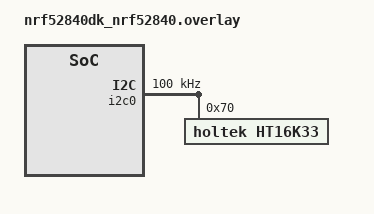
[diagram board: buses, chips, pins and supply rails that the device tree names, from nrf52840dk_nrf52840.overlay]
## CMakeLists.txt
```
cmake_minimum_required(VERSION 3.20.0)

find_package(Zephyr REQUIRED HINTS $ENV{ZEPHYR_BASE})
project(compass_beacon)

# Production firmware: BLE bring-up + passive window emit (main.c), the NUS
# attendance counter (attendance.c), the aggregation window (ble_window.c), and
# the LED-matrix / battery-bar renderer the accepted count is drawn on
# (led_display.c). attendance_display() -> led_display_update() is the wiring
# that puts the accumulated attendance count on the matrix.
target_sources(app PRIVATE
  src/main.c
  src/ble_window.c
  src/attendance.c
  src/led_display.c
)

# Standalone display bring-up test (its own main(), feeds simulated counts to
# the matrix). Mutually exclusive with src/main.c -- enable this and disable the
# four sources above to bench the display without BLE:
#   src/led_display_test.c
```

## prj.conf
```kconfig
# COMPASS / Project HYBE - nRF52840 dual-mode firmware config.

# Bluetooth: broadcaster (iBeacon adv) + observer (passive scan).
CONFIG_BT=y
CONFIG_BT_BROADCASTER=y
CONFIG_BT_OBSERVER=y
CONFIG_BT_DEVICE_NAME="COMPASS-nRF"

# Peripheral role + Nordic UART Service (NUS) GATT server: the connectable
# attendance channel the phone app writes "CHECKIN\n" to (the device owns the
# counter and notifies "OK:<count>" back). One central at a time; the connection
# is short-lived (connect, write once, disconnect).
CONFIG_BT_PERIPHERAL=y
CONFIG_BT_NUS=y
CONFIG_BT_MAX_CONN=1

# Connection RSSI measurement in the controller. Required for the FR5 proximity
# gate: without it the SoftDevice Controller rejects HCI Read_RSSI (0x1405) and
# bt_hci_cmd_send_sync() returns -EIO, so every CHECKIN fails the fail-safe as
# "far". (Defaults on only for BT_HCI_RAW, which this app is not.)
CONFIG_BT_CTLR_CONN_RSSI=y

# Console over UART. The logging subsystem is intentionally NOT enabled: with
# CONFIG_LOG=y (deferred mode) the BLE RX thread starves the log thread during
# scanning and no output ever flushes. Plain printk writes directly and
# synchronously to the UART in the calling context, so it cannot be starved.
CONFIG_SERIAL=y
CONFIG_CONSOLE=y
CONFIG_UART_CONSOLE=y
CONFIG_PRINTK=y
CONFIG_NRFX_UARTE1=y
CONFIG_GPIO=y

# C library: snprintf + sqrt/lround for the aggregation window. No %f is used
# in any format string, so newlib float-printf support is not required.
CONFIG_NEWLIB_LIBC=y
CONFIG_FPU=y

# Stacks: scan callback + JSON formatting.
CONFIG_MAIN_STACK_SIZE=2048
CONFIG_SYSTEM_WORKQUEUE_STACK_SIZE=2048

# LED matrix (HT16K33 over I2C) that the accumulated attendance count is drawn
# on. CONFIG_LED gives the led_on/led_off API used by led_display.c; the I2C bus
# carries it (matrix node in nrf52840dk_nrf52840.overlay). The TM1651 battery
# bar is bit-banged over GPIO (already enabled above), no extra Kconfig.
CONFIG_I2C=y
CONFIG_LED=y

# NOTE: CONFIG_LOG stays OFF on purpose (see the console block above). With
# CONFIG_LOG=y the BLE RX thread starves the deferred log thread during
# scanning and no printk output ever flushes -- the board looks silent on UART
# even though advertising keeps running.
```

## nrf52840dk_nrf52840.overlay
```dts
/*
 * COMPASS / Project HYBE - board overlay for the nRF52840DK.
 *
 * Declares the HT16K33 16x8 LED matrix on i2c0 (I2C address 0x70). led_display.c
 * binds to this node via DT_COMPAT_GET_ANY_STATUS_OKAY(holtek_ht16k33) and draws
 * the accumulated attendance count on it. The TM1651 battery bar is bit-banged
 * straight on gpio1 (P1.12/P1.13) from led_display.c, so it needs no DT node.
 *
 * SPDX-License-Identifier: Apache-2.0
 */

&i2c0 {
	clock-frequency = <I2C_BITRATE_STANDARD>;

	ht16k33@70 {
		compatible = "holtek,ht16k33";
		reg = <0x70>;
		/* Uncomment to use IRQ instead of polling: */
		/* irq-gpios = <&gpio1 8 (GPIO_PULL_UP | GPIO_ACTIVE_LOW)>; */
	};
};
```

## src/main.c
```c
/*
 * COMPASS / Project HYBE - nRF52840 dual-mode firmware.
 *
 * Runs two BLE roles concurrently:
 *   - Broadcaster: non-connectable iBeacon advertising (the "location id" the
 *     phone app detects for the ACTIVE path).
 *   - Observer:    passive scanning that aggregates ambient BLE traffic into
 *     fixed windows for the PASSIVE crowd estimate, splitting Apple vs other
 *     manufacturers.
 *
 * Every WINDOW_SECONDS the aggregated window is emitted as a single JSON line
 * on the console (UART/RTT). A host bridge forwards each line to Firestore,
 * adding server_ts. See README.md.
 */

#include <zephyr/kernel.h>
#include <zephyr/sys/byteorder.h>
#include <zephyr/sys/printk.h>
#include <zephyr/bluetooth/bluetooth.h>
#include <zephyr/bluetooth/conn.h>
#include <zephyr/bluetooth/hci.h>

#include <bluetooth/services/nus.h>

#include "app_config.h"
#include "ble_window.h"
#include "attendance.h"

/* ---- iBeacon advertising data (broadcaster role) ----------------------- */

static const uint8_t ibeacon_mfg_data[] = {
	0x4C, 0x00,             /* Apple Company ID (little-endian) */
	0x02, 0x15,             /* iBeacon type + remaining length (21 bytes) */
	APP_IBEACON_UUID,       /* 16-byte proximity UUID */
	(APP_IBEACON_MAJOR >> 8) & 0xFF, APP_IBEACON_MAJOR & 0xFF, /* major BE */
	(APP_IBEACON_MINOR >> 8) & 0xFF, APP_IBEACON_MINOR & 0xFF, /* minor BE */
	APP_IBEACON_MEASURED_POWER,
};

/*
 * Advertising payload (Approach A): a single CONNECTABLE legacy set carrying the
 * iBeacon manufacturer data in the AD, plus the NUS service UUID and device name
 * in the scan response so the app can scan-filter by UUID (and fall back to the
 * name). Flags advertise LE General Discoverable + BR/EDR-not-supported; iOS /
 * Android ranging keys on the manufacturer payload, not the flags, so the
 * iBeacon stays detectable.
 */
static const struct bt_data connectable_ad[] = {
	BT_DATA_BYTES(BT_DATA_FLAGS, BT_LE_AD_GENERAL | BT_LE_AD_NO_BREDR),
	BT_DATA(BT_DATA_MANUFACTURER_DATA, ibeacon_mfg_data,
		sizeof(ibeacon_mfg_data)),
};

/* Scan response: 18 B (128-bit NUS UUID) + 13 B (name) = 31 B, the legacy max. */
static const struct bt_data connectable_sd[] = {
	BT_DATA_BYTES(BT_DATA_UUID128_ALL, BT_UUID_NUS_VAL),
	BT_DATA(BT_DATA_NAME_COMPLETE, CONFIG_BT_DEVICE_NAME,
		sizeof(CONFIG_BT_DEVICE_NAME) - 1),
};

/* ---- Passive aggregation window (observer role) ------------------------ */

static struct ble_window window;
static struct k_mutex window_mutex;
static struct k_work_delayable window_work;

/* Manufacturer-classification context for one parsed advertisement. */
struct adv_scan_ctx {
	bool is_apple;
};

static bool adv_data_cb(struct bt_data *data, void *user_data)
{
	struct adv_scan_ctx *ctx = user_data;

	if (data->type == BT_DATA_MANUFACTURER_DATA && data->data_len >= 2) {
		uint16_t company = sys_get_le16(data->data);

		if (company == COMPANY_ID_APPLE) {
			ctx->is_apple = true;
		}
	}
	return true; /* keep parsing remaining AD structures */
}

static void scan_cb(const bt_addr_le_t *addr, int8_t rssi, uint8_t adv_type,
		    struct net_buf_simple *buf)
{
	ARG_UNUSED(adv_type);

	/* Drop weak packets so distant rooms/neighbours do not inflate counts. */
	if (rssi < RSSI_THRESHOLD) {
		return;
	}

	struct adv_scan_ctx ctx = {.is_apple = false};

	bt_data_parse(buf, adv_data_cb, &ctx);

	k_mutex_lock(&window_mutex, K_FOREVER);
	ble_window_add(&window, addr->a.val, rssi, ctx.is_apple);
	k_mutex_unlock(&window_mutex);
}

static void window_work_handler(struct k_work *work)
{
	ARG_UNUSED(work);

	struct ble_window snapshot;

	k_mutex_lock(&window_mutex, K_FOREVER);
	snapshot = window;
	ble_window_reset(&window);
	k_mutex_unlock(&window_mutex);

	char json[256];
	uint32_t uptime_sec = (uint32_t)(k_uptime_get() / 1000);

	int n = ble_window_format_json(&snapshot, BEACON_ID, uptime_sec, json,
				       sizeof(json));
	/* "TX -> " prefix lets the host bridge pick data lines out of the
	 * interleaved boot banner / CONFIG_LOG output on the same UART. */
	if (n > 0 && n < (int)sizeof(json)) {
		printk("TX -> %s\n", json);
	} else {
		printk("TX -> {\"id\":\"%s\",\"error\":\"json_truncated\"}\n",
		       BEACON_ID);
	}

	k_work_schedule(&window_work, K_SECONDS(WINDOW_SECONDS));
}

/* ---- Bring-up ---------------------------------------------------------- */

static int start_connectable_adv(void)
{
	/*
	 * Connectable legacy advertising carrying the iBeacon AD + NUS scan
	 * response. Legacy connectable advertising auto-stops once a central
	 * connects, so the disconnected callback restarts it (see below).
	 */
	return bt_le_adv_start(BT_LE_ADV_CONN, connectable_ad,
			       ARRAY_SIZE(connectable_ad), connectable_sd,
			       ARRAY_SIZE(connectable_sd));
}

/* ---- NUS connection lifecycle (peripheral role) ------------------------ */

static void connected(struct bt_conn *conn, uint8_t err)
{
	ARG_UNUSED(conn);

	if (err) {
		printk("NUS connection failed (err %u)\n", err);
		return;
	}
	printk("NUS connected\n");
}

static void disconnected(struct bt_conn *conn, uint8_t reason)
{
	ARG_UNUSED(conn);

	printk("NUS disconnected (reason %u)\n", reason);

	/* Approach A: re-advertise so the next attendance write can connect. */
	int err = start_connectable_adv();

	if (err) {
		printk("connectable adv restart failed (err %d)\n", err);
	}
}

BT_CONN_CB_DEFINE(conn_callbacks) = {
	.connected = connected,
	.disconnected = disconnected,
};

static int start_passive_scan(void)
{
	struct bt_le_scan_param scan_param = {
		.type = BT_LE_SCAN_TYPE_PASSIVE,
		.options = BT_LE_SCAN_OPT_NONE,
		.interval = BT_GAP_SCAN_FAST_INTERVAL,
		.window = BT_GAP_SCAN_FAST_WINDOW,
	};

	return bt_le_scan_start(&scan_param, scan_cb);
}

int main(void)
{
	int err;

	k_mutex_init(&window_mutex);
	ble_window_reset(&window);

	err = bt_enable(NULL);
	if (err) {
		printk("bt_enable failed (err %d)\n", err);
		return 0;
	}
	printk("COMPASS dual-mode firmware started (beacon=%s)\n", BEACON_ID);

	err = attendance_init();
	if (err) {
		printk("NUS (attendance) init failed (err %d)\n", err);
		return 0;
	}

	err = start_connectable_adv();
	if (err) {
		printk("connectable advertising failed (err %d)\n", err);
		return 0;
	}
	printk("connectable iBeacon+NUS adv: major=%d minor=%d\n",
	       APP_IBEACON_MAJOR, APP_IBEACON_MINOR);

	err = start_passive_scan();
	if (err) {
		printk("Passive scan failed (err %d)\n", err);
		return 0;
	}
	printk("Passive scan running, window=%ds threshold=%ddBm\n",
	       WINDOW_SECONDS, RSSI_THRESHOLD);

	k_work_init_delayable(&window_work, window_work_handler);
	k_work_schedule(&window_work, K_SECONDS(WINDOW_SECONDS));

	return 0;
}
```

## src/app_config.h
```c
/*
 * COMPASS / Project HYBE - Per-unit firmware configuration.
 *
 * Each nRF52840 installed at a different reading room gets a distinct
 * BEACON_ID + APP_IBEACON_MINOR. Keep APP_IBEACON_UUID identical across all
 * units and matching the Flutter active-path region UUID.
 */

#ifndef APP_CONFIG_H_
#define APP_CONFIG_H_

/* Logical location id reported in the payload. MUST match a Firestore doc id
 * registered in the app (_beaconMeta: beacon_A1 / beacon_A2 / beacon_A3). */
#define BEACON_ID "beacon_A1"

/* iBeacon identity (advertised for the active path). */
#define APP_IBEACON_UUID                                                       \
	0xE2, 0xC5, 0x6D, 0xB5, 0xDF, 0xFB, 0x48, 0xD2, 0xB0, 0x60, 0xD0,      \
		0xF5, 0xA7, 0x10, 0x96, 0xE0
#define APP_IBEACON_MAJOR 1
#define APP_IBEACON_MINOR 101
/* Calibrated RSSI at 1 m, two's-complement (0xC5 = -59 dBm). */
#define APP_IBEACON_MEASURED_POWER 0xC5

/* Passive scanning / aggregation. */
#define WINDOW_SECONDS 10
/* Relaxed to capture people farther from the ceiling-mounted unit. */
#define RSSI_THRESHOLD (-95)

/* Apple Bluetooth Company Identifier. */
#define COMPANY_ID_APPLE 0x004C

/* NUS attendance proximity gate (FR5): a CHECKIN is counted only if the
 * connection RSSI of the tapping phone is at least this value (closer => higher
 * / less negative). Close range is roughly -40..-65 dBm; tune on-site. */
#define ATT_RSSI_THRESHOLD (-70)

/* Expected room capacity (total attendees). Full-scale for the LED display:
 * the TM1651 battery bar fills to (count / ATT_CAPACITY) * 100%. The matrix
 * shows the raw count, so this only drives the bar. */
#define ATT_CAPACITY 50U

#endif /* APP_CONFIG_H_ */
```

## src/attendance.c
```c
/*
 * COMPASS / Project HYBE - NUS attendance RX channel (see attendance.h).
 *
 * The beacon owns the attendance counter. On each "CHECKIN" RX write it gates
 * the tap on the connection RSSI (proximity) and, if close enough, increments
 * the counter, prints it, and ACKs the central.
 *
 * The RSSI read is an HCI Read_RSSI command issued synchronously
 * (bt_hci_cmd_send_sync), which blocks - and the NUS RX callback runs in the BT
 * RX context where blocking is forbidden (spec 7). So the RX callback stays
 * short (validate "CHECKIN", ref the connection, submit work) and the actual
 * gate + increment + notify happen on the system workqueue.
 */

#include <stdbool.h>
#include <stdio.h>
#include <string.h>

#include <zephyr/kernel.h>
#include <zephyr/sys/printk.h>
#include <zephyr/sys/byteorder.h>
#include <zephyr/net/buf.h>
#include <zephyr/bluetooth/conn.h>
#include <zephyr/bluetooth/hci.h>

#include <bluetooth/services/nus.h>

#include "app_config.h"
#include "attendance.h"
#include "led_display.h"

/* The signal the app writes. Matched by prefix so a future "CHECKIN:<token>\n"
 * (per-user de-dup, spec 6) stays non-breaking. */
#define CHECKIN_PREFIX     "CHECKIN"
#define CHECKIN_PREFIX_LEN (sizeof(CHECKIN_PREFIX) - 1)

/* Beacon-owned counter (resets to 0 on reboot; persistence is future work). */
static uint32_t attendance_count;

/* One in-flight tap at a time (CONFIG_BT_MAX_CONN=1, single deliberate tap).
 * pending_conn hands the ref'd connection from the RX callback to the work. */
static struct bt_conn *pending_conn;
static struct k_work checkin_work;
static struct k_spinlock lock;

/* Reads the live connection RSSI via HCI Read_RSSI (opcode 0x1405).
 * Returns 0 and writes *rssi on success, or a negative errno. */
static int conn_rssi(struct bt_conn *conn, int8_t *rssi)
{
	uint16_t handle;
	int err = bt_hci_get_conn_handle(conn, &handle);

	if (err) {
		return err;
	}

	struct net_buf *buf = bt_hci_cmd_create(BT_HCI_OP_READ_RSSI,
						sizeof(struct bt_hci_cp_read_rssi));
	if (buf == NULL) {
		return -ENOBUFS;
	}

	struct bt_hci_cp_read_rssi *cp = net_buf_add(buf, sizeof(*cp));

	cp->handle = sys_cpu_to_le16(handle);

	struct net_buf *rsp = NULL;

	err = bt_hci_cmd_send_sync(BT_HCI_OP_READ_RSSI, buf, &rsp);
	if (err) {
		return err;
	}

	struct bt_hci_rp_read_rssi *rp = (void *)rsp->data;

	if (rp->status) {
		err = -EIO;
	} else {
		*rssi = rp->rssi;
	}
	net_buf_unref(rsp);
	return err;
}

/* Best-effort TX notify; ignored if the central never subscribed. */
static void notify(struct bt_conn *conn, const char *msg)
{
	(void)bt_nus_send(conn, (const uint8_t *)msg, (uint16_t)strlen(msg));
}

/* System-workqueue handler: RSSI gate -> increment -> display -> ACK. */
static void checkin_work_handler(struct k_work *work)
{
	ARG_UNUSED(work);

	k_spinlock_key_t key = k_spin_lock(&lock);
	struct bt_conn *conn = pending_conn;

	pending_conn = NULL;
	k_spin_unlock(&lock, key);

	if (conn == NULL) {
		return;
	}

	int8_t rssi = 0;
	int err = conn_rssi(conn, &rssi);

	if (err) {
		/* Fail-safe: an unreadable RSSI is treated as a reject. */
		printk("ATT-RX rejected (rssi read failed, err %d)\n", err);
		notify(conn, "FAR\n");
	} else if (rssi < ATT_RSSI_THRESHOLD) {
		printk("ATT-RX rejected (far, rssi=%d dBm)\n", rssi);
		notify(conn, "FAR\n");
	} else {
		attendance_count++;
		attendance_display(attendance_count);

		char ack[16];
		int n = snprintf(ack, sizeof(ack), "OK:%u\n", attendance_count);

		if (n > 0 && n < (int)sizeof(ack)) {
			(void)bt_nus_send(conn, (const uint8_t *)ack,
					  (uint16_t)n);
		}
	}

	bt_conn_unref(conn);
}

/* NUS RX write handler: app -> device. Short and non-blocking. */
static void nus_received(struct bt_conn *conn, const uint8_t *const data,
			 uint16_t len)
{
	if (data == NULL || len < CHECKIN_PREFIX_LEN ||
	    memcmp(data, CHECKIN_PREFIX, CHECKIN_PREFIX_LEN) != 0) {
		printk("ATT-RX malformed payload (%u bytes), dropped\n", len);
		return;
	}

	k_spinlock_key_t key = k_spin_lock(&lock);
	bool busy = (pending_conn != NULL);

	if (!busy) {
		pending_conn = bt_conn_ref(conn);
	}
	k_spin_unlock(&lock, key);

	if (busy) {
		printk("ATT-RX busy, tap dropped\n");
		return;
	}

	k_work_submit(&checkin_work);
}

static struct bt_nus_cb nus_cb = {
	.received = nus_received,
};

void attendance_display(uint32_t count)
{
	/* Echo to the console for the host bridge, then render the accumulated
	 * count on the LED matrix (number) + TM1651 battery bar (fill ratio
	 * against room capacity). */
	printk("ATT-RX count=%u\n", count);
	led_display_update(count, ATT_CAPACITY);
}

int attendance_init(void)
{
	k_work_init(&checkin_work, checkin_work_handler);
	led_display_init();
	return bt_nus_init(&nus_cb);
}
```

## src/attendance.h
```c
/*
 * COMPASS / Project HYBE - NUS attendance RX channel.
 *
 * Stands up a Nordic UART Service (NUS) GATT server so the phone app (BLE
 * central) can check a student in. The app connects, writes the bare signal
 * "CHECKIN\n" to the NUS RX characteristic, and disconnects.
 *
 * The beacon owns the counter: each CHECKIN is gated on the connection RSSI
 * (proximity), and only accepted taps increment attendance_count, which is
 * echoed to the UART console and rendered on the LED matrix + battery bar via
 * attendance_display(), and ACKed to the app ("OK:<count>" on accept, "FAR" on
 * reject). See firmware-nus-attendance-spec.md.
 */

#ifndef ATTENDANCE_H_
#define ATTENDANCE_H_

#include <stdint.h>

/*
 * Registers the NUS GATT service and its RX write handler. Call once after
 * bt_enable(). Returns 0 on success, or a negative errno on failure.
 */
int attendance_init(void);

/*
 * Surfaces the current attendance count to the operator: prints
 * "ATT-RX count=%u" to the UART console (for the host bridge) and renders the
 * count on the LED matrix + TM1651 battery bar (led_display_update()). Single
 * drop-in point for any display change - the signature and call sites stay put.
 */
void attendance_display(uint32_t count);

#endif /* ATTENDANCE_H_ */
```

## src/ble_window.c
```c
/*
 * COMPASS / Project HYBE - Passive BLE aggregation window implementation.
 */

#include "ble_window.h"

#include <math.h>
#include <stdio.h>
#include <string.h>

/* FNV-1a 32-bit constants. */
#define FNV1A_OFFSET_BASIS 2166136261u
#define FNV1A_PRIME 16777619u

void ble_window_reset(struct ble_window *w)
{
	memset(w, 0, sizeof(*w));
	/* min/max sentinels so the first sample sets both. */
	w->rssi_min = 127;
	w->rssi_max = -128;
}

static uint32_t fnv1a_hash(const uint8_t *data, size_t len)
{
	uint32_t hash = FNV1A_OFFSET_BASIS;

	for (size_t i = 0; i < len; i++) {
		hash ^= data[i];
		hash *= FNV1A_PRIME;
	}
	return hash;
}

void ble_window_add(struct ble_window *w, const uint8_t addr6[6], int8_t rssi,
		    bool is_apple)
{
	w->packet_count++;
	if (is_apple) {
		w->apple_packet_count++;
	}

	/* Welford online mean/variance. */
	w->rssi_n++;
	const double delta = (double)rssi - w->rssi_mean;
	w->rssi_mean += delta / (double)w->rssi_n;
	const double delta2 = (double)rssi - w->rssi_mean;
	w->rssi_m2 += delta * delta2;

	if (rssi < w->rssi_min) {
		w->rssi_min = rssi;
	}
	if (rssi > w->rssi_max) {
		w->rssi_max = rssi;
	}

	/* Mark presence in the FNV-1a hashed bitmap. */
	const uint32_t idx = fnv1a_hash(addr6, 6) % BLE_WINDOW_BITMAP_BITS;
	w->mac_bitmap[idx / 8] |= (uint8_t)(1u << (idx % 8));
}

uint32_t ble_window_unique_macs(const struct ble_window *w)
{
	uint32_t bits = 0;

	for (size_t i = 0; i < BLE_WINDOW_BITMAP_BYTES; i++) {
		uint8_t b = w->mac_bitmap[i];

		while (b) {
			bits += (b & 1u);
			b >>= 1;
		}
	}
	return bits;
}

double ble_window_rssi_std(const struct ble_window *w)
{
	if (w->rssi_n < 2) {
		return 0.0;
	}
	return sqrt(w->rssi_m2 / (double)w->rssi_n);
}

int ble_window_rssi_avg(const struct ble_window *w)
{
	if (w->rssi_n == 0) {
		return 0;
	}
	return (int)lround(w->rssi_mean);
}

int ble_window_format_json(const struct ble_window *w, const char *beacon_id,
			   uint32_t uptime_sec, char *buf, size_t buf_len)
{
	const uint32_t apple = w->apple_packet_count;
	const uint32_t other = w->packet_count - apple;

	/* Format std to one decimal as integer tenths to avoid pulling in
	 * floating-point printf support (std is always >= 0). */
	const int std_x10 = (int)(ble_window_rssi_std(w) * 10.0 + 0.5);

	return snprintf(buf, buf_len,
			"{\"id\":\"%s\","
			"\"packet_count\":%u,"
			"\"apple_packet_count\":%u,"
			"\"other_packet_count\":%u,"
			"\"rssi_avg\":%d,"
			"\"rssi_std\":%d.%d,"
			"\"rssi_min\":%d,"
			"\"rssi_max\":%d,"
			"\"unique_mac_count\":%u,"
			"\"uptime_sec\":%u}",
			beacon_id, w->packet_count, apple, other,
			ble_window_rssi_avg(w), std_x10 / 10, std_x10 % 10,
			(int)(w->rssi_n ? w->rssi_min : 0),
			(int)(w->rssi_n ? w->rssi_max : 0),
			ble_window_unique_macs(w), uptime_sec);
}
```

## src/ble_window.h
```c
/*
 * COMPASS / Project HYBE - Passive BLE aggregation window.
 *
 * Accumulates ambient BLE advertising packets over a fixed time window and
 * produces the Firestore-bound metrics: total / Apple / other packet counts,
 * RSSI mean+std (Welford), RSSI min/max, and an approximate unique-MAC count
 * via an FNV-1a hashed bitmap.
 */

#ifndef BLE_WINDOW_H_
#define BLE_WINDOW_H_

#include <stdbool.h>
#include <stddef.h>
#include <stdint.h>

/* FNV-1a hash bitmap size for unique-MAC estimation (bits). */
#define BLE_WINDOW_BITMAP_BITS 1024
#define BLE_WINDOW_BITMAP_BYTES (BLE_WINDOW_BITMAP_BITS / 8)

struct ble_window {
	uint32_t packet_count;
	uint32_t apple_packet_count;

	/* Welford running stats over RSSI (signed dBm). */
	uint32_t rssi_n;
	double rssi_mean;
	double rssi_m2;
	int8_t rssi_min;
	int8_t rssi_max;

	/* FNV-1a hashed presence bitmap for unique BLE addresses. */
	uint8_t mac_bitmap[BLE_WINDOW_BITMAP_BYTES];
};

/* Clears all counters/stats for a fresh window. */
void ble_window_reset(struct ble_window *w);

/*
 * Records one accepted advertising packet.
 *   addr6    : 6-byte BLE device address (little-endian, as from bt_addr_le_t).
 *   rssi     : received signal strength in dBm.
 *   is_apple : true if the manufacturer Company ID was Apple (0x004C).
 */
void ble_window_add(struct ble_window *w, const uint8_t addr6[6], int8_t rssi,
		    bool is_apple);

/* Approximate count of distinct addresses (set bits in the bitmap). */
uint32_t ble_window_unique_macs(const struct ble_window *w);

/* Population RSSI standard deviation; 0 if fewer than 2 samples. */
double ble_window_rssi_std(const struct ble_window *w);

/* Rounded RSSI mean; 0 if no samples. */
int ble_window_rssi_avg(const struct ble_window *w);

/*
 * Serialises the window as a single-line JSON object matching the Firestore
 * schema (server_ts is added downstream by the host bridge). Returns the
 * number of bytes written (excluding NUL), or a negative value on truncation.
 */
int ble_window_format_json(const struct ble_window *w, const char *beacon_id,
			   uint32_t uptime_sec, char *buf, size_t buf_len);

#endif /* BLE_WINDOW_H_ */
```

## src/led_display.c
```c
#include "led_display.h"

#include <zephyr/kernel.h>
#include <zephyr/drivers/gpio.h>
#include <zephyr/drivers/led.h>
#include <zephyr/sys/printk.h>

/* ── LED Matrix (HT16K33) ─────────────────────────────────────────────────── */

#define LED_MATRIX_COUNT  128
#define MATRIX_COLS       16   /* physical columns in the 16x8 matrix */

/* 5-row x 3-col pixel font for digits 0–9.
 * Each row is a 3-bit mask: bit2=left, bit1=mid, bit0=right. */
static const uint8_t digit_font[10][5] = {
    {0b111, 0b101, 0b101, 0b101, 0b111}, /* 0 */
    {0b010, 0b110, 0b010, 0b010, 0b111}, /* 1 */
    {0b111, 0b001, 0b111, 0b100, 0b111}, /* 2 */
    {0b111, 0b001, 0b111, 0b001, 0b111}, /* 3 */
    {0b101, 0b101, 0b111, 0b001, 0b001}, /* 4 */
    {0b111, 0b100, 0b111, 0b001, 0b111}, /* 5 */
    {0b111, 0b100, 0b111, 0b101, 0b111}, /* 6 */
    {0b111, 0b001, 0b001, 0b001, 0b001}, /* 7 */
    {0b111, 0b101, 0b111, 0b101, 0b111}, /* 8 */
    {0b111, 0b101, 0b111, 0b001, 0b111}, /* 9 */
};

#define LED_NODE DT_COMPAT_GET_ANY_STATUS_OKAY(holtek_ht16k33)
static const struct device *const led_dev = DEVICE_DT_GET(LED_NODE);

static void draw_digit(uint8_t digit, int col_offset, int row_offset)
{
    for (int row = 0; row < 5; row++) {
        uint8_t bits = digit_font[digit][row];
        for (int col = 0; col < 3; col++) {
            int led = (row + row_offset) * MATRIX_COLS + (col + col_offset);
            if ((bits >> (2 - col)) & 1) {
                led_on(led_dev, led);
            } else {
                led_off(led_dev, led);
            }
        }
    }
}

/* ── Battery Bar (TM1651, bit-banged) ─────────────────────────────────────── */

/* CLK = D10 = P1.12,  DIO = D11 = P1.13 */
#define TM1651_CLK 12
#define TM1651_DIO 13

static const struct device *gpio1_dev;

static void tm_delay(void) { k_busy_wait(50); }

static void tm_start(void)
{
    gpio_pin_set(gpio1_dev, TM1651_CLK, 1);
    gpio_pin_set(gpio1_dev, TM1651_DIO, 1);
    tm_delay();
    gpio_pin_set(gpio1_dev, TM1651_DIO, 0);
    tm_delay();
    gpio_pin_set(gpio1_dev, TM1651_CLK, 0);
    tm_delay();
}

static void tm_stop(void)
{
    gpio_pin_set(gpio1_dev, TM1651_CLK, 0);
    tm_delay();
    gpio_pin_set(gpio1_dev, TM1651_DIO, 0);
    tm_delay();
    gpio_pin_set(gpio1_dev, TM1651_CLK, 1);
    tm_delay();
    gpio_pin_set(gpio1_dev, TM1651_DIO, 1);
    tm_delay();
}

static void tm_write_byte(uint8_t byte)
{
    for (int i = 0; i < 8; i++) {
        gpio_pin_set(gpio1_dev, TM1651_CLK, 0);
        tm_delay();
        gpio_pin_set(gpio1_dev, TM1651_DIO, (byte >> i) & 1);
        tm_delay();
        gpio_pin_set(gpio1_dev, TM1651_CLK, 1);
        tm_delay();
    }
    /* ACK clock */
    gpio_pin_set(gpio1_dev, TM1651_CLK, 0);
    gpio_pin_configure(gpio1_dev, TM1651_DIO, GPIO_INPUT);
    tm_delay();
    gpio_pin_set(gpio1_dev, TM1651_CLK, 1);
    tm_delay();
    gpio_pin_set(gpio1_dev, TM1651_CLK, 0);
    gpio_pin_configure(gpio1_dev, TM1651_DIO, GPIO_OUTPUT_LOW);
    tm_delay();
}

/*
 * percent: 0–100, fills from bottom to top.
 *
 * Hardware mapping (0xC0 only, 0xC1 unused):
 *   bit6 (0x40) → bottom 2 segments
 *   bit5 (0x20) → 8th from top
 *   bit4 (0x10) → 7th from top
 *   bit3 (0x08) → 6th from top
 *   bit2 (0x04) → 4th,5th from top
 *   bit1 (0x02) → 2nd,3rd from top
 *   bit0 (0x01) → top segment
 *
 * Some segments are paired (same bit), so 7 distinct levels exist for 10 physical bars.
 */
static const uint8_t bat_levels[11] = {
    0x00,  /* 0%   → empty */
    0x40,  /* 10%  → bottom 2 bars */
    0x40,  /* 20%  → same (hardware limitation) */
    0x60,  /* 30%  → + 8th bar */
    0x70,  /* 40%  → + 7th bar */
    0x78,  /* 50%  → + 6th bar */
    0x7C,  /* 60%  → + 4th,5th bars */
    0x7C,  /* 70%  → same (hardware limitation) */
    0x7E,  /* 80%  → + 2nd,3rd bars */
    0x7E,  /* 90%  → same (hardware limitation) */
    0x7F,  /* 100% → + top bar, full */
};

static void battery_set_level(int percent)
{
    if (percent < 0)   percent = 0;
    if (percent > 100) percent = 100;

    int bars = percent / 10;
    if (bars > 10) bars = 10;

    uint8_t high = bat_levels[bars];

    tm_start();
    tm_write_byte(0x44);
    tm_stop();

    tm_start();
    tm_write_byte(0xC0);
    tm_write_byte(high);
    tm_stop();

    tm_start();
    tm_write_byte(0x8A);
    tm_stop();
}

/* ── Public API ───────────────────────────────────────────────────────────── */

void battery_raw(uint8_t high, uint8_t low)
{
    tm_start(); tm_write_byte(0x44); tm_stop();
    tm_start(); tm_write_byte(0xC0); tm_write_byte(high); tm_stop();
    tm_start(); tm_write_byte(0x44); tm_stop();
    tm_start(); tm_write_byte(0xC1); tm_write_byte(low);  tm_stop();
    tm_start(); tm_write_byte(0x8A); tm_stop();
}

int led_display_init(void)
{
    gpio1_dev = DEVICE_DT_GET(DT_NODELABEL(gpio1));
    gpio_pin_configure(gpio1_dev, TM1651_CLK, GPIO_OUTPUT_HIGH);
    gpio_pin_configure(gpio1_dev, TM1651_DIO, GPIO_OUTPUT_HIGH);

    if (!device_is_ready(led_dev)) {
        printk("led_display: LED matrix not ready\n");
        return -ENODEV;
    }

    /* Clear both displays */
    for (int i = 0; i < LED_MATRIX_COUNT; i++) {
        led_off(led_dev, i);
    }
    battery_set_level(0);

    return 0;
}

void led_matrix_set_count(uint32_t count)
{
    uint32_t on = (count > LED_MATRIX_COUNT) ? LED_MATRIX_COUNT : count;

    for (uint32_t i = 0; i < on; i++) {
        led_on(led_dev, i);
    }
    for (uint32_t i = on; i < LED_MATRIX_COUNT; i++) {
        led_off(led_dev, i);
    }
}

void battery_display_set_count(uint32_t count, uint32_t capacity)
{
    if (capacity == 0) {
        return;
    }
    int percent = (int)((count * 100U) / capacity);
    if (percent > 100) percent = 100;
    battery_set_level(percent);
}

void led_display_update(uint32_t count, uint32_t capacity)
{
    /* Matrix shows the count as a 2-digit number; battery bar shows the fill
     * ratio against capacity. (led_matrix_set_count() lights one LED per head
     * instead of drawing the number - kept in the API for bring-up.) */
    led_matrix_set_number(count);
    battery_display_set_count(count, capacity);
}

void led_matrix_set_number(uint32_t count)
{
    if (count > 99) count = 99;

    uint8_t tens  = count / 10;
    uint8_t units = count % 10;

    for (int i = 0; i < LED_MATRIX_COUNT; i++) {
        led_off(led_dev, i);
    }

    /* tens digit: cols 2–4, rows 1–5 */
    draw_digit(tens,  2, 1);
    /* units digit: cols 10–12, rows 1–5 */
    draw_digit(units, 10, 1);
}
```

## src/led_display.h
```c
#ifndef LED_DISPLAY_H
#define LED_DISPLAY_H

#include <stdint.h>

/*
 * Initialize LED matrix (HT16K33) and battery bar (TM1651).
 * Call once after boot, before any update calls.
 * Returns 0 on success, negative errno on failure.
 */
int led_display_init(void);

/*
 * Light up `count` LEDs on the matrix (index 0 … min(count,128)-1).
 * All higher-index LEDs are turned off.
 */
void led_matrix_set_count(uint32_t count);

/*
 * Drive the TM1651 battery bar to (count * 100) / capacity percent.
 * capacity must be > 0.  Result is clamped to 0–100.
 */
void battery_display_set_count(uint32_t count, uint32_t capacity);

/*
 * Convenience wrapper: calls both led_matrix_set_count and
 * battery_display_set_count in one call.
 */
void led_display_update(uint32_t count, uint32_t capacity);

/*
 * Diagnostic: send raw bytes directly to TM1651 registers.
 * high → 0xC0, low → 0xC1.  Use this to map bits to physical segments.
 */
void battery_raw(uint8_t high, uint8_t low);

/*
 * Display count as a 2-digit number (00–99) on the LED matrix using a 5x3
 * pixel font.  Values above 99 are clamped to 99.
 * Assumes a 16-column x 8-row matrix (128 LEDs, index = row*16 + col).
 * Tens digit is drawn at columns 2–4, units digit at columns 10–12, rows 1–5.
 */
void led_matrix_set_number(uint32_t count);

#endif /* LED_DISPLAY_H */
```

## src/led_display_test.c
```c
/*
 * led_display_test.c
 *
 * Simulates attendance count arriving from BLE and verifies
 * that the LED matrix and battery bar update correctly on each change.
 */

#include <zephyr/kernel.h>
#include <zephyr/sys/printk.h>

#include "led_display.h"

#define TEST_CAPACITY 50U

static const uint32_t sim_counts[] = {
    0, 1, 2, 5, 10, 15, 20, 25, 30, 40, 50, 55
};

static void on_attendance_update(uint32_t new_count)
{
    static uint32_t last_count = UINT32_MAX;

    if (new_count == last_count) {
        return;
    }

    last_count = new_count;

    uint32_t percent = (new_count * 100U) / TEST_CAPACITY;
    if (percent > 100) percent = 100;

    printk("Attendance: %u / %u  (%u%%)\n", new_count, TEST_CAPACITY, percent);

    led_display_update(new_count, TEST_CAPACITY);
}

int main(void)
{
    printk("=== led_display_test start ===\n");

    if (led_display_init() != 0) {
        printk("Display init failed\n");
        return 0;
    }

    for (int i = 0; i < (int)(sizeof(sim_counts) / sizeof(sim_counts[0])); i++) {
        on_attendance_update(sim_counts[i]);
        k_sleep(K_MSEC(1000));
    }

    printk("=== led_display_test done ===\n");

    while (1) {
        k_sleep(K_MSEC(1000));
    }
    return 0;
}
```

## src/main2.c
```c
// #include <zephyr/kernel.h>
// #include <zephyr/device.h>
// #include <zephyr/drivers/uart.h>
// #include <zephyr/drivers/led.h>
// #include <zephyr/logging/log.h>
// #include <zephyr/sys/atomic.h>
// #include <string.h>

// LOG_MODULE_REGISTER(main, CONFIG_LOG_DEFAULT_LEVEL);

// /* CO2 센서 */
// #define MSG_SIZE       9
// #define CO2_MULTIPLIER 256
// #define CO2_THRESHOLD  4000  /* ppm - 이 값보다 높으면 LED ON */

// static const struct device *const uart_serial =
//     DEVICE_DT_GET(DT_ALIAS(myserial));

// static char rx_buf[MSG_SIZE];
// static int  rx_buf_pos;
// static atomic_t co2_ppm_val = ATOMIC_INIT(0);

// enum uart_fsm_code {
//     UART_FSM_IDLE,
//     UART_FSM_HEADER,
//     UART_FSM_DATA,
//     UART_FSM_CHECKSUM,
//     UART_FSM_END,
// };
// static uint8_t uart_fsm = UART_FSM_IDLE;

// /* LED Matrix */
// #define LED_NODE DT_COMPAT_GET_ANY_STATUS_OKAY(holtek_ht16k33)
// static const struct device *const led_dev = DEVICE_DT_GET(LED_NODE);

// /* ─────────────────────────────────── */

// uint8_t check_usart_fsm(uint8_t read_data)
// {
//     switch (uart_fsm) {
//     case UART_FSM_IDLE:
//         if (read_data == 0xFF) uart_fsm = UART_FSM_HEADER;
//         break;
//     case UART_FSM_HEADER:
//         if (read_data == 0x86) uart_fsm = UART_FSM_DATA;
//         else                   uart_fsm = UART_FSM_IDLE;
//         break;
//     case UART_FSM_DATA:
//         if (rx_buf_pos == MSG_SIZE - 2) uart_fsm = UART_FSM_CHECKSUM;
//         break;
//     case UART_FSM_CHECKSUM:
//         if (rx_buf_pos == MSG_SIZE - 1) uart_fsm = UART_FSM_END;
//         break;
//     case UART_FSM_END:
//         uart_fsm = UART_FSM_IDLE;
//         break;
//     default:
//         uart_fsm = UART_FSM_IDLE;
//         break;
//     }
//     return uart_fsm;
// }

// char getCheckSum(char *packet)
// {
//     char i, checksum = 0;
//     for (i = 1; i < 8; i++) checksum += packet[i];
//     checksum = 0xff - checksum;
//     checksum += 1;
//     return checksum;
// }

// void serial_callback(const struct device *dev, void *user_data)
// {
//     uint8_t c;
//     char checksum_ok, value_calc_flag;
//     int checksum;

//     if (!uart_irq_update(uart_serial)) return;
//     if (!uart_irq_rx_ready(uart_serial)) return;

//     while (uart_fifo_read(uart_serial, &c, 1) == 1) {
//         if (uart_fsm == UART_FSM_IDLE) rx_buf_pos = 0;
//         check_usart_fsm(c);
//         if (rx_buf_pos >= MSG_SIZE) rx_buf_pos = 0;
//         rx_buf[rx_buf_pos++] = c;
//     }

//     value_calc_flag = rx_buf_pos == MSG_SIZE;
//     if (value_calc_flag) {
//         checksum    = getCheckSum(rx_buf);
//         checksum_ok = checksum == rx_buf[8];

//         if (checksum_ok) {
//             uint8_t high = rx_buf[2];
//             uint8_t low  = rx_buf[3];
//             int co2_ppm  = (high * CO2_MULTIPLIER) + low;
//             atomic_set(&co2_ppm_val, co2_ppm);
//             printk("CO2: %d ppm\n", co2_ppm);

//             for (int i = 0; i < MSG_SIZE; i++) printk("%x ", rx_buf[i]);
//             printk("\n");
//         }
//     }
// }

// void serial_write(void)
// {
//     uint8_t tx_buf[MSG_SIZE] =
//         {0xFF, 0x01, 0x86, 0x00, 0x00, 0x00, 0x00, 0x00, 0x79};
//     for (int i = 0; i < MSG_SIZE; i++) {
//         uart_poll_out(uart_serial, tx_buf[i]);
//     }
// }

// int main(void)
// {
//     bool leds_on = false;

//     if (!device_is_ready(uart_serial)) {
//         printk("UART device not found!\n");
//         return 0;
//     }

//     if (!device_is_ready(led_dev)) {
//         printk("LED device not ready\n");
//         return 0;
//     }

//     /* LED 초기 OFF */
//     led_off(led_dev, 0);

//     int ret = uart_irq_callback_user_data_set(uart_serial,
//                                               serial_callback, NULL);
//     if (ret < 0) {
//         printk("Error setting UART callback: %d\n", ret);
//         return 0;
//     }
//     uart_irq_rx_enable(uart_serial);

//     while (1) {
//         k_sleep(K_MSEC(5000));
//         serial_write();

//         int ppm = (int)atomic_get(&co2_ppm_val);

//         if (ppm > CO2_THRESHOLD && !leds_on) {
//             printk("CO2 detected! LED Matrix ON\n");
//             led_on(led_dev, 0);
//             leds_on = true;
//         } else if (ppm <= CO2_THRESHOLD && leds_on) {
//             printk("No CO2. LED Matrix OFF\n");
//             led_off(led_dev, 0);
//             leds_on = false;
//         }
//     }

//     return 0;
// }

#include <zephyr/kernel.h>
#include <zephyr/drivers/gpio.h>
#include <zephyr/drivers/led.h>
#include <zephyr/logging/log.h>

LOG_MODULE_REGISTER(main, CONFIG_LOG_DEFAULT_LEVEL);

/* LED Matrix */
#define LED_NODE DT_COMPAT_GET_ANY_STATUS_OKAY(holtek_ht16k33)
static const struct device *const led_dev = DEVICE_DT_GET(LED_NODE);

/* Battery Display TM1651: CLK=D10=P1.12, DIO=D11=P1.13 */
#define TM1651_CLK 12
#define TM1651_DIO 13

static const struct device *gpio1;

/* ★ 여기만 바꾸면 됨 (0~100) */
#define MY_NUMBER 42

static void tm_delay(void) { k_busy_wait(50); }

static void tm_start(void)
{
    gpio_pin_set(gpio1, TM1651_CLK, 1);
    gpio_pin_set(gpio1, TM1651_DIO, 1);
    tm_delay();
    gpio_pin_set(gpio1, TM1651_DIO, 0);
    tm_delay();
    gpio_pin_set(gpio1, TM1651_CLK, 0);
    tm_delay();
}

static void tm_stop(void)
{
    gpio_pin_set(gpio1, TM1651_CLK, 0);
    tm_delay();
    gpio_pin_set(gpio1, TM1651_DIO, 0);
    tm_delay();
    gpio_pin_set(gpio1, TM1651_CLK, 1);
    tm_delay();
    gpio_pin_set(gpio1, TM1651_DIO, 1);
    tm_delay();
}

static void tm_write_byte(uint8_t byte)
{
    for (int i = 0; i < 8; i++) {
        gpio_pin_set(gpio1, TM1651_CLK, 0);
        tm_delay();
        gpio_pin_set(gpio1, TM1651_DIO, (byte >> i) & 1);
        tm_delay();
        gpio_pin_set(gpio1, TM1651_CLK, 1);
        tm_delay();
    }
    /* ACK */
    gpio_pin_set(gpio1, TM1651_CLK, 0);
    gpio_pin_configure(gpio1, TM1651_DIO, GPIO_INPUT);
    tm_delay();
    gpio_pin_set(gpio1, TM1651_CLK, 1);
    tm_delay();
    gpio_pin_set(gpio1, TM1651_CLK, 0);
    gpio_pin_configure(gpio1, TM1651_DIO, GPIO_OUTPUT_LOW);
    tm_delay();
}

/* level: 0~7 */
/* level: 0~7, 아래서부터 채워짐 */
void battery_set_level(int percent)
{
    if (percent < 0)   percent = 0;
    if (percent > 100) percent = 100;

    /* 퍼센트 → 켜야 할 칸 수 (0~10), 10% 단위로 정확히 */
    int bars = percent / 10;  /* 반올림 없이 그냥 나누기 */
    if (bars > 10) bars = 10;

    /* 10비트 마스크, MSB가 맨 위 칸 */
    uint16_t mask = 0;
    for (int i = 0; i < bars; i++) {
        mask |= (1 << (9 - i));
    }

    uint8_t high = (mask >> 2) & 0xFF;
    uint8_t low  = (mask & 0x03) << 6;

    printk("percent=%d bars=%d mask=0x%04x\n", percent, bars, mask);

    tm_start();
    tm_write_byte(0x44);
    tm_stop();

    tm_start();
    tm_write_byte(0xC0);
    tm_write_byte(high);
    tm_stop();

    tm_start();
    tm_write_byte(0x44);
    tm_stop();

    tm_start();
    tm_write_byte(0xC1);
    tm_write_byte(low);
    tm_stop();

    tm_start();
    tm_write_byte(0x8A);
    tm_stop();
}

int main(void)
{
    gpio1 = DEVICE_DT_GET(DT_NODELABEL(gpio1));
    gpio_pin_configure(gpio1, TM1651_CLK, GPIO_OUTPUT_HIGH);
    gpio_pin_configure(gpio1, TM1651_DIO, GPIO_OUTPUT_HIGH);

    if (!device_is_ready(led_dev)) {
        printk("LED device not ready\n");
        return 0;
    }

    /* 전체 끄기 */
    for (int i = 0; i < 128; i++) led_off(led_dev, i);
    battery_set_level(0);
    k_sleep(K_MSEC(500));

    /* MY_NUMBER 만큼 LED Matrix 켜기 */
    int num = (MY_NUMBER > 128) ? 128 : MY_NUMBER;
    printk("LED Matrix: %d LEDs ON\n", num);
    for (int i = 0; i < num; i++) {
        led_on(led_dev, i);
    }

    /* Battery: MY_NUMBER를 퍼센트로 그대로 전달 */
    printk("Battery: %d%%\n", MY_NUMBER);
    battery_set_level(MY_NUMBER);

    while (1) {
        k_sleep(K_MSEC(1000));
    }
    return 0;
}
```
